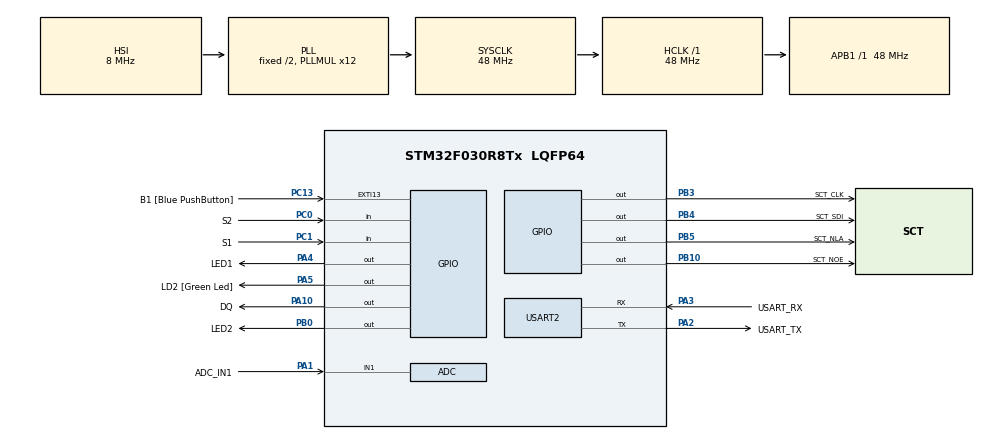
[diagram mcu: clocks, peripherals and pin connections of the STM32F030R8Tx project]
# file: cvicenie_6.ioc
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ADC.ContinuousConvMode=ENABLE
ADC.Overrun=ADC_OVR_DATA_OVERWRITTEN
ADC.Resolution=ADC_RESOLUTION_10B
Mcu.Family=STM32F0
Mcu.Name=STM32F030R8Tx
Mcu.Package=LQFP64
PA1.GPIO_Label=ADC_IN1 
PA1.Mode=IN1
PA1.Signal=ADC_IN1
PA10.GPIO_Label=DQ
PA10.GPIO_ModeDefaultOutputPP=GPIO_MODE_OUTPUT_OD
PA10.GPIO_PuPd=GPIO_NOPULL
PA10.PinState=GPIO_PIN_SET
PA10.Signal=GPIO_Output
PA13.GPIO_Label=TMS
PA13.Mode=Serial_Wire
PA13.Signal=SYS_SWDIO
PA14.GPIO_Label=TCK
PA14.Mode=Serial_Wire
PA14.Signal=SYS_SWCLK
PA2.GPIO_Label=USART_TX
PA2.GPIO_Mode=GPIO_MODE_AF_PP
PA2.GPIO_PuPd=GPIO_NOPULL
PA2.GPIO_Speed=GPIO_SPEED_FREQ_LOW
PA2.Mode=Asynchronous
PA2.Signal=USART2_TX
PA3.GPIO_Label=USART_RX
PA3.GPIO_Mode=GPIO_MODE_AF_PP
PA3.GPIO_PuPd=GPIO_NOPULL
PA3.GPIO_Speed=GPIO_SPEED_FREQ_LOW
PA3.Mode=Asynchronous
PA3.Signal=USART2_RX
PA4.GPIO_Label=LED1
PA4.Signal=GPIO_Output
PA5.GPIO_Label=LD2 [Green Led]
PA5.GPIO_Mode=GPIO_MODE_OUTPUT_PP
PA5.GPIO_PuPd=GPIO_NOPULL
PA5.GPIO_Speed=GPIO_SPEED_FREQ_LOW
PA5.Signal=GPIO_Output
PB0.GPIO_Label=LED2
PB0.Signal=GPIO_Output
PB10.GPIO_Label=SCT_NOE
PB10.Signal=GPIO_Output
PB3.GPIO_Label=SCT_CLK
PB3.Signal=GPIO_Output
PB4.GPIO_Label=SCT_SDI
PB4.Signal=GPIO_Output
PB5.GPIO_Label=SCT_NLA
PB5.Signal=GPIO_Output
PC0.GPIO_Label=S2
PC0.GPIO_PuPd=GPIO_PULLUP
PC0.Signal=GPIO_Input
PC1.GPIO_Label=S1
PC1.GPIO_PuPd=GPIO_PULLUP
PC1.Signal=GPIO_Input
PC13.GPIO_Label=B1 [Blue PushButton]
PC13.GPIO_ModeDefaultEXTI=GPIO_MODE_IT_FALLING
PC13.Signal=GPXTI13
PC14-OSC32_IN.Mode=LSE-External-Oscillator
PC14-OSC32_IN.Signal=RCC_OSC32_IN
PC15-OSC32_OUT.Mode=LSE-External-Oscillator
PC15-OSC32_OUT.Signal=RCC_OSC32_OUT
PF0-OSC_IN.Mode=HSE-External-Clock-Source
PF0-OSC_IN.Signal=RCC_OSC_IN
PF1-OSC_OUT.Signal=RCC_OSC_OUT
ProjectManager.HeapSize=0x200
ProjectManager.StackSize=0x400
ProjectManager.TargetToolchain=STM32CubeIDE
RCC.AHBFreq_Value=48000000
RCC.APB1Freq_Value=48000000
RCC.APB1TimFreq_Value=48000000
RCC.HCLKFreq_Value=48000000
RCC.PLLMUL=RCC_PLL_MUL12
RCC.SYSCLKFreq_VALUE=48000000
RCC.SYSCLKSource=RCC_SYSCLKSOURCE_PLLCLK
USART2.VirtualMode-Asynchronous=VM_ASYNC
board=NUCLEO-F030R8

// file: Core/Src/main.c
/* USER CODE BEGIN Header */
/**
 ******************************************************************************
 * @file           : main.c
 * @brief          : Main program body
 ******************************************************************************
 * @attention
 *
 * Copyright (c) 2023 STMicroelectronics.
 * All rights reserved.
 *
 * This software is licensed under terms that can be found in the LICENSE file
 * in the root directory of this software component.
 * If no LICENSE file comes with this software, it is provided AS-IS.
 *
 ******************************************************************************
 */
/* USER CODE END Header */
#include "main.h"

/* USER CODE BEGIN Includes */
#include "1wire.h"
#include "sct.h"

/* USER CODE END Includes */

ADC_HandleTypeDef hadc;

UART_HandleTypeDef huart2;

void SystemClock_Config(void);
static void MX_GPIO_Init(void);
static void MX_USART2_UART_Init(void);
static void MX_ADC_Init(void);
/* USER CODE BEGIN PFP */
static const int16_t ntc[] = {
#include "data.dlm"
};
/* USER CODE END PFP */

int main(void)
{

	/* MCU Configuration--------------------------------------------------------*/

	/* Reset of all peripherals, Initializes the Flash interface and the Systick. */
	HAL_Init();

	/* Configure the system clock */
	SystemClock_Config();

	/* Initialize all configured peripherals */
	MX_GPIO_Init();
	MX_USART2_UART_Init();
	MX_ADC_Init();
	/* USER CODE BEGIN 2 */
	OWInit();
	sct_init();
	HAL_ADCEx_Calibration_Start(&hadc);
	HAL_ADC_Start(&hadc);

	static enum { SHOW_dig, SHOW_adc } state = SHOW_dig; //stav automat
	/* USER CODE END 2 */

	/* Infinite loop */
	/* USER CODE BEGIN WHILE */
	while (1)
	{
		if(HAL_GPIO_ReadPin(S1_GPIO_Port, S1_Pin) == 0){
			state = SHOW_dig;
			HAL_GPIO_WritePin(LED2_GPIO_Port,LED2_Pin,1);
			if (HAL_GPIO_ReadPin(LED1_GPIO_Port,LED1_Pin) == 1) {
				HAL_GPIO_WritePin(LED1_GPIO_Port,LED1_Pin,0);
			}
		}
		else if (HAL_GPIO_ReadPin(S2_GPIO_Port, S2_Pin) == 0){
			state = SHOW_adc;
			HAL_GPIO_WritePin(LED1_GPIO_Port,LED1_Pin,1);
			if (HAL_GPIO_ReadPin(LED2_GPIO_Port,LED2_Pin) == 1) {
				HAL_GPIO_WritePin(LED2_GPIO_Port,LED2_Pin,0);
			}
		}

		switch (state){
		case SHOW_dig:
			OWConvertAll();
			HAL_Delay(CONVERT_T_DELAY);
			int16_t temp_18b20;

			if (OWReadTemperature(&temp_18b20)) sct_value((temp_18b20/10)+5);
			else sct_value(000);
			break;

		case SHOW_adc:
			int16_t temp_adc = ntc[HAL_ADC_GetValue(&hadc)];
			sct_value(temp_adc);
			break;

		default:
			break;
		}

		/* USER CODE END WHILE */

	}
}

void SystemClock_Config(void)
{
	RCC_OscInitTypeDef RCC_OscInitStruct = {0};
	RCC_ClkInitTypeDef RCC_ClkInitStruct = {0};

	/** Initializes the RCC Oscillators according to the specified parameters
	 * in the RCC_OscInitTypeDef structure.
	 */
	RCC_OscInitStruct.OscillatorType = RCC_OSCILLATORTYPE_HSI|RCC_OSCILLATORTYPE_HSI14;
	RCC_OscInitStruct.HSIState = RCC_HSI_ON;
	RCC_OscInitStruct.HSI14State = RCC_HSI14_ON;
	RCC_OscInitStruct.HSICalibrationValue = RCC_HSICALIBRATION_DEFAULT;
	RCC_OscInitStruct.HSI14CalibrationValue = 16;
	RCC_OscInitStruct.PLL.PLLState = RCC_PLL_ON;
	RCC_OscInitStruct.PLL.PLLSource = RCC_PLLSOURCE_HSI;
	RCC_OscInitStruct.PLL.PLLMUL = RCC_PLL_MUL12;
	RCC_OscInitStruct.PLL.PREDIV = RCC_PREDIV_DIV1;
	if (HAL_RCC_OscConfig(&RCC_OscInitStruct) != HAL_OK)
	{
		Error_Handler();
	}

	/** Initializes the CPU, AHB and APB buses clocks
	 */
	RCC_ClkInitStruct.ClockType = RCC_CLOCKTYPE_HCLK|RCC_CLOCKTYPE_SYSCLK
			|RCC_CLOCKTYPE_PCLK1;
	RCC_ClkInitStruct.SYSCLKSource = RCC_SYSCLKSOURCE_PLLCLK;
	RCC_ClkInitStruct.AHBCLKDivider = RCC_SYSCLK_DIV1;
	RCC_ClkInitStruct.APB1CLKDivider = RCC_HCLK_DIV1;

	if (HAL_RCC_ClockConfig(&RCC_ClkInitStruct, FLASH_LATENCY_1) != HAL_OK)
	{
		Error_Handler();
	}
}

static void MX_ADC_Init(void)
{

	ADC_ChannelConfTypeDef sConfig = {0};

	/** Configure the global features of the ADC (Clock, Resolution, Data Alignment and number of conversion)
	 */
	hadc.Instance = ADC1;
	hadc.Init.ClockPrescaler = ADC_CLOCK_ASYNC_DIV1;
	hadc.Init.Resolution = ADC_RESOLUTION_10B;
	hadc.Init.DataAlign = ADC_DATAALIGN_RIGHT;
	hadc.Init.ScanConvMode = ADC_SCAN_DIRECTION_FORWARD;
	hadc.Init.EOCSelection = ADC_EOC_SINGLE_CONV;
	hadc.Init.LowPowerAutoWait = DISABLE;
	hadc.Init.LowPowerAutoPowerOff = DISABLE;
	hadc.Init.ContinuousConvMode = ENABLE;
	hadc.Init.DiscontinuousConvMode = DISABLE;
	hadc.Init.ExternalTrigConv = ADC_SOFTWARE_START;
	hadc.Init.ExternalTrigConvEdge = ADC_EXTERNALTRIGCONVEDGE_NONE;
	hadc.Init.DMAContinuousRequests = DISABLE;
	hadc.Init.Overrun = ADC_OVR_DATA_OVERWRITTEN;
	if (HAL_ADC_Init(&hadc) != HAL_OK)
	{
		Error_Handler();
	}

	/** Configure for the selected ADC regular channel to be converted.
	 */
	sConfig.Channel = ADC_CHANNEL_1;
	sConfig.Rank = ADC_RANK_CHANNEL_NUMBER;
	sConfig.SamplingTime = ADC_SAMPLETIME_1CYCLE_5;
	if (HAL_ADC_ConfigChannel(&hadc, &sConfig) != HAL_OK)
	{
		Error_Handler();
	}

}

static void MX_USART2_UART_Init(void)
{

	huart2.Instance = USART2;
	huart2.Init.BaudRate = 38400;
	huart2.Init.WordLength = UART_WORDLENGTH_8B;
	huart2.Init.StopBits = UART_STOPBITS_1;
	huart2.Init.Parity = UART_PARITY_NONE;
	huart2.Init.Mode = UART_MODE_TX_RX;
	huart2.Init.HwFlowCtl = UART_HWCONTROL_NONE;
	huart2.Init.OverSampling = UART_OVERSAMPLING_16;
	huart2.Init.OneBitSampling = UART_ONE_BIT_SAMPLE_DISABLE;
	huart2.AdvancedInit.AdvFeatureInit = UART_ADVFEATURE_NO_INIT;
	if (HAL_UART_Init(&huart2) != HAL_OK)
	{
		Error_Handler();
	}

}

static void MX_GPIO_Init(void)
{
	GPIO_InitTypeDef GPIO_InitStruct = {0};

	/* GPIO Ports Clock Enable */
	__HAL_RCC_GPIOC_CLK_ENABLE();
	__HAL_RCC_GPIOF_CLK_ENABLE();
	__HAL_RCC_GPIOA_CLK_ENABLE();
	__HAL_RCC_GPIOB_CLK_ENABLE();

	/*Configure GPIO pin Output Level */
	HAL_GPIO_WritePin(GPIOA, LED1_Pin|LD2_Pin, GPIO_PIN_RESET);

	/*Configure GPIO pin Output Level */
	HAL_GPIO_WritePin(GPIOB, LED2_Pin|SCT_NOE_Pin|SCT_CLK_Pin|SCT_SDI_Pin
			|SCT_NLA_Pin, GPIO_PIN_RESET);

	/*Configure GPIO pin Output Level */
	HAL_GPIO_WritePin(DQ_GPIO_Port, DQ_Pin, GPIO_PIN_SET);

	/*Configure GPIO pin : B1_Pin */
	GPIO_InitStruct.Pin = B1_Pin;
	GPIO_InitStruct.Mode = GPIO_MODE_IT_FALLING;
	GPIO_InitStruct.Pull = GPIO_NOPULL;
	HAL_GPIO_Init(B1_GPIO_Port, &GPIO_InitStruct);

	/*Configure GPIO pins : S2_Pin S1_Pin */
	GPIO_InitStruct.Pin = S2_Pin|S1_Pin;
	GPIO_InitStruct.Mode = GPIO_MODE_INPUT;
	GPIO_InitStruct.Pull = GPIO_PULLUP;
	HAL_GPIO_Init(GPIOC, &GPIO_InitStruct);

	/*Configure GPIO pins : LED1_Pin LD2_Pin */
	GPIO_InitStruct.Pin = LED1_Pin|LD2_Pin;
	GPIO_InitStruct.Mode = GPIO_MODE_OUTPUT_PP;
	GPIO_InitStruct.Pull = GPIO_NOPULL;
	GPIO_InitStruct.Speed = GPIO_SPEED_FREQ_LOW;
	HAL_GPIO_Init(GPIOA, &GPIO_InitStruct);

	/*Configure GPIO pins : LED2_Pin SCT_NOE_Pin SCT_CLK_Pin SCT_SDI_Pin
                           SCT_NLA_Pin */
	GPIO_InitStruct.Pin = LED2_Pin|SCT_NOE_Pin|SCT_CLK_Pin|SCT_SDI_Pin
			|SCT_NLA_Pin;
	GPIO_InitStruct.Mode = GPIO_MODE_OUTPUT_PP;
	GPIO_InitStruct.Pull = GPIO_NOPULL;
	GPIO_InitStruct.Speed = GPIO_SPEED_FREQ_LOW;
	HAL_GPIO_Init(GPIOB, &GPIO_InitStruct);

	/*Configure GPIO pin : DQ_Pin */
	GPIO_InitStruct.Pin = DQ_Pin;
	GPIO_InitStruct.Mode = GPIO_MODE_OUTPUT_OD;
	GPIO_InitStruct.Pull = GPIO_NOPULL;
	GPIO_InitStruct.Speed = GPIO_SPEED_FREQ_LOW;
	HAL_GPIO_Init(DQ_GPIO_Port, &GPIO_InitStruct);

}

void Error_Handler(void)
{
	__disable_irq();
	while (1)
	{
	}
}
